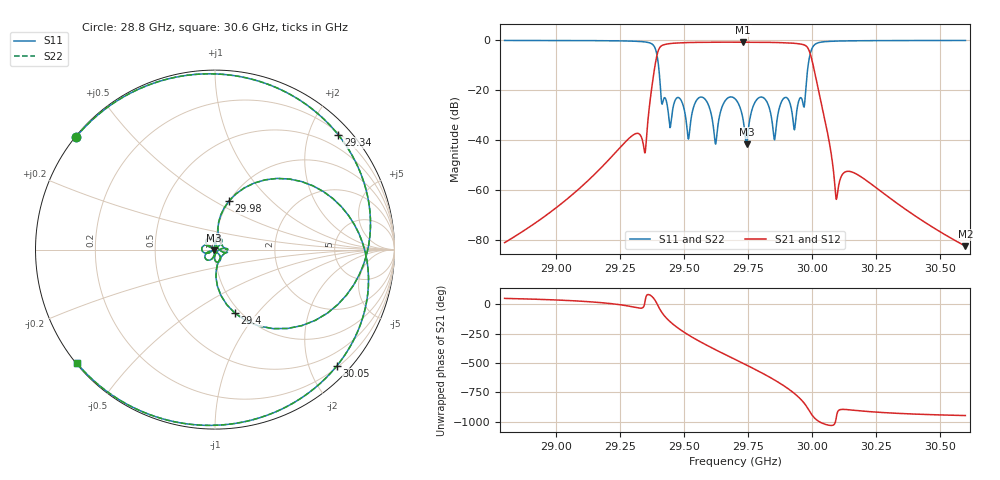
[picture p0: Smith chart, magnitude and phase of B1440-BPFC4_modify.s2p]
! Created with skrf (http://scikit-rf.org).
! Parameters = {f0=29694; bw=500; Q=3500; N=8; m_0_1=1.0256351232528687; m_1_1=-0.002890038536861539; m_1_2=0.8483842611312866; m_2_2=-0.003168360562995076; m_2_3=0.5962059497833252; m_3_3=-0.003791427705436945; m_3_4=0.5205122828483582; m_3_5=-0.09849271178245544; m_3_6=-0.1563231199979782; m_4_4=0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
# MHz S RI R 50.0
!freq ReS11 ImS11 ReS21 ImS21 ReS12 ImS12 ReS22 ImS22
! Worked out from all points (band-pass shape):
!   1001 points, 28.8 GHz to 30.6 GHz, reference 50 ohm
!   highest |S21| = -0.70 dB at 29.73 GHz (marker M1); lowest = -82.4 dB at 30.6 GHz (marker M2)
!   |S21| within 3 dB of the highest: 29.4 GHz to 29.99 GHz (586.1 MHz wide, 1.97 % of centre)
!   lowest |S11| = -41.7 dB at 29.75 GHz (marker M3), VSWR 1.02, Z = 49.3 - j0.355 ohm
!   |S11| at or under -10 dB: 29.4 GHz to 29.99 GHz (584.6 MHz wide, 1.97 % of centre)
!   |S22| runs from -41.7 to 0.0 dB; largest |S21 - S12| = 0
!   S11 on the Smith chart (normalised r, x): 28.8 GHz: 0.00, +0.35; 29.34 GHz: 0.24, +2.52; 29.4 GHz: 0.94, -0.78; 29.98 GHz: 1.00, +0.59; 30.05 GHz: 0.23, -2.48; 30.6 GHz: 0.00, -0.36
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28800  -0.7749 0.6267  5.8e-05 6.76e-05  5.8e-05 6.76e-05  -0.7749 0.6267
29100.6  -0.4615 0.8768  0.00107 0.000504  0.00107 0.000504  -0.4615 0.8768
29341.8  0.6865 0.6397  0.00747 -0.00358  0.00747 -0.00358  0.6865 0.6397
29399.4  0.1122 -0.3553  0.5887 -0.141  0.5887 -0.141  0.1122 -0.3553
29401.2  0.0653 -0.3067  0.5988 -0.2327  0.5988 -0.2327  0.0653 -0.3067
29424.6  0.0699 -0.0145  -0.146 -0.8111  -0.146 -0.8111  0.0699 -0.0145
29460.6  0.00661 0.0516  -0.8746 -0.0685  -0.8746 -0.0685  0.00661 0.0516
29529  -0.0253 0.0124  0.1039 0.9027  0.1039 0.9027  -0.0253 0.0124
29606.4  -0.00242 0.0345  0.9095 -0.1377  0.9095 -0.1377  -0.00242 0.0345
29700  -0.0647 0.0203  -0.3177 -0.865  -0.3177 -0.865  -0.0647 0.0203
29732.4  -0.0197 0.0147  -0.7556 -0.5291  -0.7556 -0.5291  -0.0197 0.0147
29745  -0.00744 -0.0036  -0.8592 -0.3348  -0.8592 -0.3348  -0.00744 -0.0036
29835  -0.0403 -0.014  -0.1353 0.9018  -0.1353 0.9018  -0.0403 -0.014
29854.8  -0.00163 -0.0101  0.2554 0.8719  0.2554 0.8719  -0.00163 -0.0101
29905.2  0.00801 -0.0686  0.888 0.0553  0.888 0.0553  0.00801 -0.0686
29952  0.0673 0.00504  0.1552 -0.8369  0.1552 -0.8369  0.0673 0.00504
29984.4  0.078 0.2708  -0.6891 -0.151  -0.6891 -0.151  0.078 0.2708
30000.6  0.6053 0.3226  -0.2925 0.2772  -0.2925 0.2772  0.6053 0.3226
30047.4  0.6794 -0.6471  0.0156 0.0274  0.0156 0.0274  0.6794 -0.6471
30096  0.287 -0.9241  -0.000321 0.000572  -0.000321 0.000572  0.287 -0.9241
30301.2  -0.4723 -0.8712  -0.000646 0.000319  -0.000646 0.000319  -0.4723 -0.8712
30600  -0.769 -0.6337  -4.98e-05 5.71e-05  -4.98e-05 5.71e-05  -0.769 -0.6337
